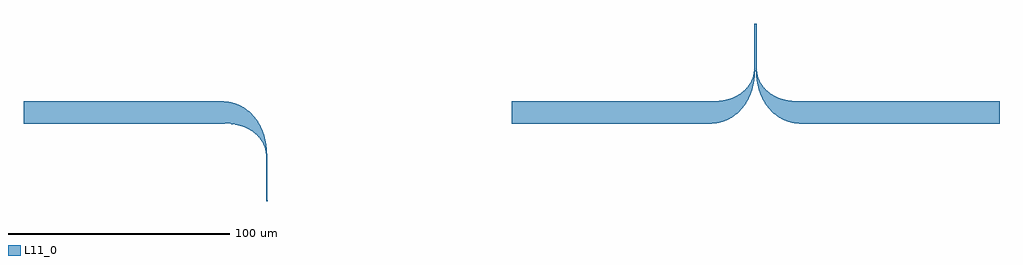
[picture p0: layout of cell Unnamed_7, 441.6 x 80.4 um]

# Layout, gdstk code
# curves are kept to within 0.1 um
from math import pi, radians
import gdstk
lib = gdstk.Library(unit=1e-6, precision=1e-09)
def R(c, l, rs):  # rectangles x0, y0, x1, y1
    for r in rs: c.add(gdstk.rectangle(r[:2], r[2:], *l))
def P(c, l, *ps):  # polygons
    for p in ps: c.add(gdstk.Polygon(p, *l))
L11_0 = (11, 0)

unnamed_11 = lib.new_cell('Unnamed_11')
P(unnamed_11, L11_0, [(19.8,-20),(19.405,-16.775),(18.261,-13.758),(16.482,-11.123),(14.048,-8.838),(11.097,-7.073),(7.828,-5.896),(4.226,-5.23),(0,-5),(0,5),(1.896,4.9),(4.077,4.535),(6.191,3.91),(8.204,3.043),(10.088,1.957),(11.822,0.677),(13.387,-0.767),(14.774,-2.342),(16.138,-4.266),(17.27,-6.279),(18.183,-8.344),(18.971,-10.694),(19.638,-13.564),(20.054,-16.667),(20.2,-20)])

unnamed_12 = lib.new_cell('Unnamed_12')
P(unnamed_12, L11_0, [(0,-0.2),(0,0.2),(19.8,0.2),(19.8,0.4),(20.2,0.4),(20.2,-0.2)])

unnamed_10 = lib.new_cell('Unnamed_10')
R(unnamed_10, L11_0, [(0,-5,90,5)])

unnamed_8 = lib.new_cell('Unnamed_8')
unnamed_8.add(gdstk.Reference(unnamed_11, (90,0)))
unnamed_8.add(gdstk.Reference(unnamed_12, (110,-20), rotation=3*pi/2))
unnamed_8.add(gdstk.Reference(unnamed_10, (0,0)))

unnamed_9 = lib.new_cell('Unnamed_9')
unnamed_9.add(gdstk.Reference(unnamed_8, (220.8,0), rotation=pi, x_reflection=True))
unnamed_9.add(gdstk.Reference(unnamed_8, (0,0)))

unnamed_7 = lib.new_cell('Unnamed_7')
unnamed_7.add(gdstk.Reference(unnamed_9, (441.6,0), rotation=pi))
unnamed_7.add(gdstk.Reference(unnamed_8, (0,0)))

lib.write_gds('Unnamed_7.gds')
